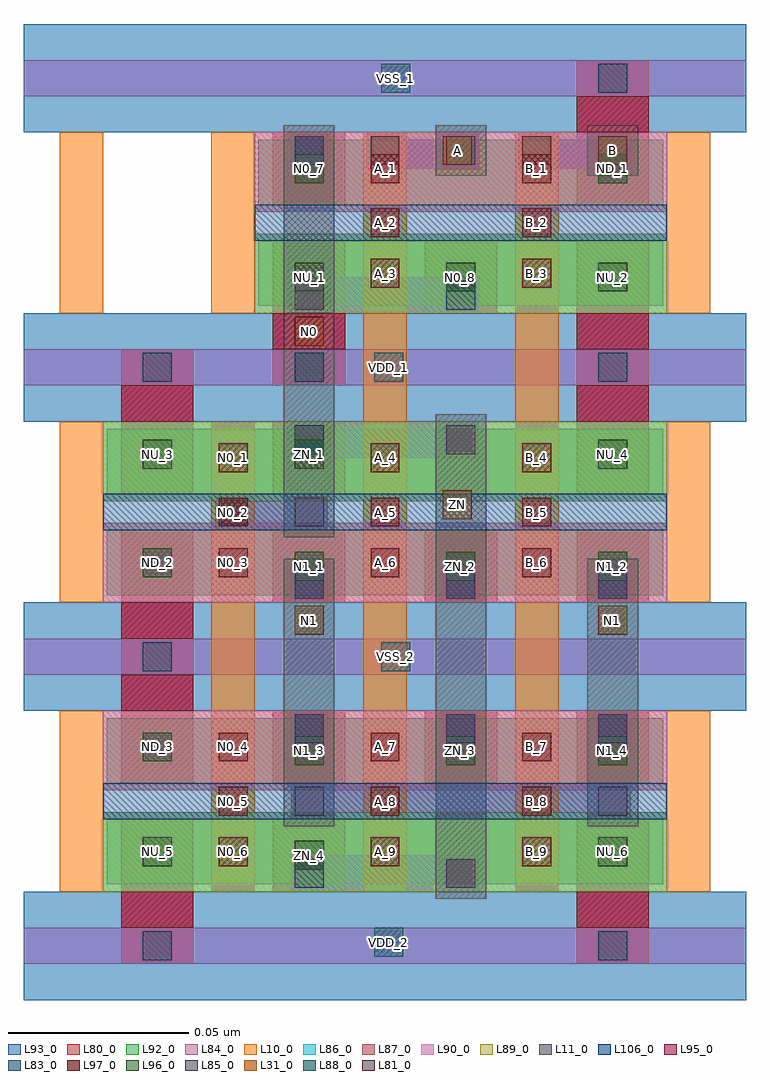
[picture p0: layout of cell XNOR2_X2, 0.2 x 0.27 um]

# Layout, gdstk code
import gdstk
lib = gdstk.Library(unit=1e-6, precision=1e-09)
def R(c, l, rs):  # rectangles x0, y0, x1, y1
    for r in rs: c.add(gdstk.rectangle(r[:2], r[2:], *l))
def A(c, l, x, y, w, h, nx, ny, dx, dy):  # array of equal rectangles
    R(c, l, [(x+i*dx, y+j*dy, x+i*dx+w, y+j*dy+h) for i in range(nx) for j in range(ny)])
L10_0 = (10, 0)
L11_0 = (11, 0)
L31_0 = (31, 0)
L80_0 = (80, 0)
L81_0 = (81, 0)
L83_0 = (83, 0)
L84_0 = (84, 0)
L85_0 = (85, 0)
L86_0 = (86, 0)
L87_0 = (87, 0)
L88_0 = (88, 0)
L89_0 = (89, 0)
L90_0 = (90, 0)
L92_0 = (92, 0)
L93_0 = (93, 0)
L95_0 = (95, 0)
L96_0 = (96, 0)
L97_0 = (97, 0)
L106_0 = (106, 0)

xnor2_x2 = lib.new_cell('XNOR2_X2')
A(xnor2_x2, L10_0, -0.027, -0.145, 0.012, 0.05, 1, 3, 0, 0.08)
A(xnor2_x2, L10_0, 0.141, -0.145, 0.012, 0.05, 1, 3, 0, 0.08)
R(xnor2_x2, L10_0, [(0.015,-0.145,0.027,-0.015), (0.057,-0.145,0.069,0.065), (0.099,-0.145,0.111,0.065), (0.015,0.015,0.027,0.065)])
A(xnor2_x2, L11_0, 0.035, -0.127, 0.014, 0.034, 3, 3, 0.042, 0.02)
A(xnor2_x2, L11_0, 0.035, -0.047, 0.014, 0.034, 1, 5, 0, 0.02)
R(xnor2_x2, L11_0, [(0.077,-0.147,0.091,-0.113), (0.077,-0.067,0.091,-0.033), (0.077,-0.047,0.091,-0.013), (0.077,0.053,0.091,0.067), (0.119,0.053,0.133,0.067)])
R(xnor2_x2, L31_0, [(0.038,-0.074,0.046,-0.066), (0.122,-0.074,0.13,-0.066), (0.079,-0.042,0.087,-0.034), (0.038,0.006,0.046,0.014), (0.079,0.056,0.087,0.064), (0.122,0.056,0.13,0.064)])
A(xnor2_x2, L80_0, -0.01, -0.065, 0.02, 0.02, 4, 1, 0.042, 0)
A(xnor2_x2, L80_0, 0.032, 0.015, 0.02, 0.02, 3, 1, 0.042, 0)
R(xnor2_x2, L80_0, [(-0.01,-0.165,0.01,-0.144), (0.116,-0.165,0.136,-0.144), (-0.01,-0.145,0.01,-0.125), (0.032,-0.145,0.052,-0.125), (0.116,-0.145,0.136,-0.125), (-0.01,-0.115,0.01,-0.095), (-0.01,-0.115,0.01,-0.095), (0.032,-0.115,0.052,-0.095), (0.032,-0.115,0.052,-0.095), (0.074,-0.115,0.094,-0.095), (0.074,-0.115,0.094,-0.095), (0.116,-0.115,0.136,-0.095), (0.116,-0.115,0.136,-0.095), (-0.01,-0.104,0.01,-0.075), (-0.01,-0.085,0.01,-0.064), (-0.01,-0.035,0.01,-0.015), (-0.01,-0.035,0.01,-0.015), (0.032,-0.035,0.052,-0.015), (0.032,-0.035,0.052,-0.015), (0.116,-0.035,0.136,-0.015), (0.116,-0.035,0.136,-0.015), (-0.01,-0.024,0.01,0.005), (0.116,-0.024,0.136,0.005), (0.032,-0.005,0.052,0.016), (0.116,-0.005,0.136,0.016), (0.032,0.045,0.052,0.065), (0.032,0.045,0.052,0.065), (0.116,0.045,0.136,0.065), (0.116,0.045,0.136,0.065), (0.116,0.056,0.136,0.085)])
R(xnor2_x2, L81_0, [(0.017,-0.044,0.025,-0.036), (0.059,0.056,0.067,0.064), (0.101,0.056,0.109,0.064)])
A(xnor2_x2, L83_0, 0.038, -0.104, 0.008, 0.008, 3, 2, 0.042, 0.04)
R(xnor2_x2, L83_0, [(-0.004,-0.164,0.004,-0.156), (0.122,-0.164,0.13,-0.156), (0.038,-0.144,0.046,-0.136), (-0.004,-0.084,0.004,-0.076), (-0.004,-0.084,0.004,-0.076), (0.038,-0.024,0.046,-0.016), (-0.004,-0.004,0.004,0.004), (0.038,-0.004,0.046,0.004), (0.122,-0.004,0.13,0.004), (0.122,-0.004,0.13,0.004), (0.08,0.016,0.088,0.024), (0.038,0.056,0.046,0.064), (0.038,0.056,0.046,0.064), (0.038,0.056,0.046,0.064), (0.038,0.056,0.046,0.064), (0.038,0.056,0.046,0.064), (0.038,0.056,0.046,0.064), (0.122,0.076,0.13,0.084)])
A(xnor2_x2, L84_0, -0.037, -0.165, 0.2, 0.01, 1, 4, 0, 0.08)
A(xnor2_x2, L84_0, 0.037, -0.125, 0.031, 0.01, 4, 1, 0.021, 0)
A(xnor2_x2, L84_0, 0.037, -0.105, 0.01, 0.01, 3, 2, 0.042, 0.04)
A(xnor2_x2, L84_0, 0.058, -0.025, 0.031, 0.01, 1, 3, 0, 0.04)
R(xnor2_x2, L84_0, [(0.037,-0.145,0.068,-0.135), (0.058,-0.145,0.089,-0.135), (0.016,-0.045,0.047,-0.035), (0.037,-0.025,0.068,-0.015), (0.037,0.015,0.068,0.025), (0.037,0.055,0.047,0.065), (0.1,0.055,0.131,0.065)])
A(xnor2_x2, L85_0, 0.038, -0.104, 0.008, 0.008, 3, 2, 0.042, 0.04)
A(xnor2_x2, L85_0, 0.038, 0.056, 0.008, 0.008, 3, 1, 0.042, 0)
R(xnor2_x2, L85_0, [(0.08,-0.144,0.088,-0.136), (0.038,-0.124,0.046,-0.116), (0.122,-0.124,0.13,-0.116), (0.038,-0.044,0.046,-0.036), (0.08,-0.024,0.088,-0.016), (0.038,0.016,0.046,0.024)])
R(xnor2_x2, L86_0, [(-0.015,-0.145,0.141,-0.123), (-0.015,-0.037,0.141,-0.015), (0.027,0.015,0.141,0.037)])
R(xnor2_x2, L87_0, [(-0.015,-0.117,0.141,-0.095), (-0.015,-0.065,0.141,-0.043), (0.027,0.043,0.141,0.065)])
R(xnor2_x2, L88_0, [(0.06,-0.163,0.068,-0.155), (0.062,-0.084,0.07,-0.076), (0.06,-0.004,0.068,0.004), (0.062,0.076,0.07,0.084)])
R(xnor2_x2, L89_0, [(-0.015,-0.145,0.141,-0.123), (-0.015,-0.037,0.141,-0.015), (0.027,0.015,0.141,0.037)])
R(xnor2_x2, L90_0, [(-0.015,-0.117,0.141,-0.095), (-0.015,-0.065,0.141,-0.043), (0.027,0.043,0.141,0.065)])
R(xnor2_x2, L92_0, [(-0.014,-0.143,0.14,-0.125), (-0.014,-0.115,0.14,-0.097), (-0.014,-0.063,0.14,-0.045), (-0.014,-0.035,0.14,-0.017), (0.028,0.017,0.14,0.035), (0.028,0.045,0.14,0.063)])
A(xnor2_x2, L93_0, -0.037, -0.175, 0.2, 0.03, 1, 4, 0, 0.08)
R(xnor2_x2, L95_0, [(-0.01,-0.155,0.01,-0.145), (0.116,-0.155,0.136,-0.145), (-0.01,-0.095,0.01,-0.085), (-0.01,-0.075,0.01,-0.065), (-0.01,-0.015,0.01,-0.005), (0.116,-0.015,0.136,-0.005), (0.032,0.005,0.052,0.015), (0.116,0.005,0.136,0.015), (0.116,0.065,0.136,0.075)])
A(xnor2_x2, L96_0, 0.038, -0.11, 0.008, 0.008, 3, 2, 0.042, 0.051)
A(xnor2_x2, L96_0, 0.038, 0.021, 0.008, 0.008, 3, 1, 0.042, 0)
R(xnor2_x2, L96_0, [(0.038,-0.139,0.046,-0.131), (-0.004,-0.138,0.004,-0.13), (0.122,-0.138,0.13,-0.13), (-0.004,-0.109,0.004,-0.101), (-0.004,-0.058,0.004,-0.05), (-0.004,-0.028,0.004,-0.02), (0.038,-0.028,0.046,-0.02), (0.122,-0.028,0.13,-0.02), (0.038,0.051,0.046,0.059), (0.122,0.051,0.13,0.059)])
A(xnor2_x2, L97_0, 0.017, -0.138, 0.008, 0.008, 3, 2, 0.042, 0.014)
A(xnor2_x2, L97_0, 0.017, -0.109, 0.008, 0.008, 3, 2, 0.042, 0.051)
A(xnor2_x2, L97_0, 0.017, -0.044, 0.008, 0.008, 3, 2, 0.042, 0.015)
R(xnor2_x2, L97_0, [(0.059,0.022,0.067,0.03), (0.101,0.022,0.109,0.03), (0.059,0.036,0.067,0.044), (0.101,0.036,0.109,0.044), (0.059,0.051,0.067,0.059), (0.101,0.051,0.109,0.059)])
R(xnor2_x2, L106_0, [(-0.015,-0.125,0.141,-0.115), (-0.015,-0.045,0.141,-0.035), (0.027,0.035,0.141,0.045)])
xnor2_x2.add(gdstk.Label('VDD_2', (0.064,-0.159), layer=88, texttype=0))
xnor2_x2.add(gdstk.Label('VSS_1', (0.066,0.08), layer=88, texttype=0))
xnor2_x2.add(gdstk.Label('VDD_1', (0.064,0), layer=88, texttype=0))
xnor2_x2.add(gdstk.Label('VSS_2', (0.066,-0.08), layer=88, texttype=0))
xnor2_x2.add(gdstk.Label('N1', (0.126,-0.07), layer=31, texttype=0))
xnor2_x2.add(gdstk.Label('N1', (0.042,-0.07), layer=31, texttype=0))
xnor2_x2.add(gdstk.Label('N0', (0.042,0.01), layer=31, texttype=0))
xnor2_x2.add(gdstk.Label('A', (0.083,0.06), layer=31, texttype=0))
xnor2_x2.add(gdstk.Label('B', (0.126,0.06), layer=31, texttype=0))
xnor2_x2.add(gdstk.Label('ZN', (0.083,-0.038), layer=31, texttype=0))
xnor2_x2.add(gdstk.Label('N0_5', (0.021,-0.12), layer=97, texttype=0))
xnor2_x2.add(gdstk.Label('N0_4', (0.021,-0.105), layer=97, texttype=0))
xnor2_x2.add(gdstk.Label('N0_6', (0.021,-0.134), layer=97, texttype=0))
xnor2_x2.add(gdstk.Label('N0_1', (0.021,-0.025), layer=97, texttype=0))
xnor2_x2.add(gdstk.Label('N0_2', (0.021,-0.04), layer=97, texttype=0))
xnor2_x2.add(gdstk.Label('N0_3', (0.021,-0.054), layer=97, texttype=0))
xnor2_x2.add(gdstk.Label('A_7', (0.063,-0.105), layer=97, texttype=0))
xnor2_x2.add(gdstk.Label('A_9', (0.063,-0.134), layer=97, texttype=0))
xnor2_x2.add(gdstk.Label('A_8', (0.063,-0.12), layer=97, texttype=0))
xnor2_x2.add(gdstk.Label('B_7', (0.105,-0.105), layer=97, texttype=0))
xnor2_x2.add(gdstk.Label('B_9', (0.105,-0.134), layer=97, texttype=0))
xnor2_x2.add(gdstk.Label('B_8', (0.105,-0.12), layer=97, texttype=0))
xnor2_x2.add(gdstk.Label('A_4', (0.063,-0.025), layer=97, texttype=0))
xnor2_x2.add(gdstk.Label('A_6', (0.063,-0.054), layer=97, texttype=0))
xnor2_x2.add(gdstk.Label('A_5', (0.063,-0.04), layer=97, texttype=0))
xnor2_x2.add(gdstk.Label('B_4', (0.105,-0.025), layer=97, texttype=0))
xnor2_x2.add(gdstk.Label('B_6', (0.105,-0.054), layer=97, texttype=0))
xnor2_x2.add(gdstk.Label('B_5', (0.105,-0.04), layer=97, texttype=0))
xnor2_x2.add(gdstk.Label('B_2', (0.105,0.04), layer=97, texttype=0))
xnor2_x2.add(gdstk.Label('B_3', (0.105,0.026), layer=97, texttype=0))
xnor2_x2.add(gdstk.Label('B_1', (0.105,0.055), layer=97, texttype=0))
xnor2_x2.add(gdstk.Label('A_2', (0.063,0.04), layer=97, texttype=0))
xnor2_x2.add(gdstk.Label('A_3', (0.063,0.026), layer=97, texttype=0))
xnor2_x2.add(gdstk.Label('A_1', (0.063,0.055), layer=97, texttype=0))
xnor2_x2.add(gdstk.Label('ZN_1', (0.042,-0.024), layer=96, texttype=0))
xnor2_x2.add(gdstk.Label('ZN_2', (0.084,-0.055), layer=96, texttype=0))
xnor2_x2.add(gdstk.Label('ZN_3', (0.084,-0.106), layer=96, texttype=0))
xnor2_x2.add(gdstk.Label('ZN_4', (0.042,-0.135), layer=96, texttype=0))
xnor2_x2.add(gdstk.Label('NU_6', (0.126,-0.134), layer=96, texttype=0))
xnor2_x2.add(gdstk.Label('NU_5', (0,-0.134), layer=96, texttype=0))
xnor2_x2.add(gdstk.Label('ND_3', (0,-0.105), layer=96, texttype=0))
xnor2_x2.add(gdstk.Label('ND_2', (0,-0.054), layer=96, texttype=0))
xnor2_x2.add(gdstk.Label('N1_3', (0.042,-0.106), layer=96, texttype=0))
xnor2_x2.add(gdstk.Label('N1_4', (0.126,-0.106), layer=96, texttype=0))
xnor2_x2.add(gdstk.Label('N1_1', (0.042,-0.055), layer=96, texttype=0))
xnor2_x2.add(gdstk.Label('N1_2', (0.126,-0.055), layer=96, texttype=0))
xnor2_x2.add(gdstk.Label('NU_3', (0,-0.024), layer=96, texttype=0))
xnor2_x2.add(gdstk.Label('NU_1', (0.042,0.025), layer=96, texttype=0))
xnor2_x2.add(gdstk.Label('NU_4', (0.126,-0.024), layer=96, texttype=0))
xnor2_x2.add(gdstk.Label('NU_2', (0.126,0.025), layer=96, texttype=0))
xnor2_x2.add(gdstk.Label('N0_8', (0.084,0.025), layer=96, texttype=0))
xnor2_x2.add(gdstk.Label('N0_7', (0.042,0.055), layer=96, texttype=0))
xnor2_x2.add(gdstk.Label('ND_1', (0.126,0.055), layer=96, texttype=0))

lib.write_gds('XNOR2_X2.gds')
